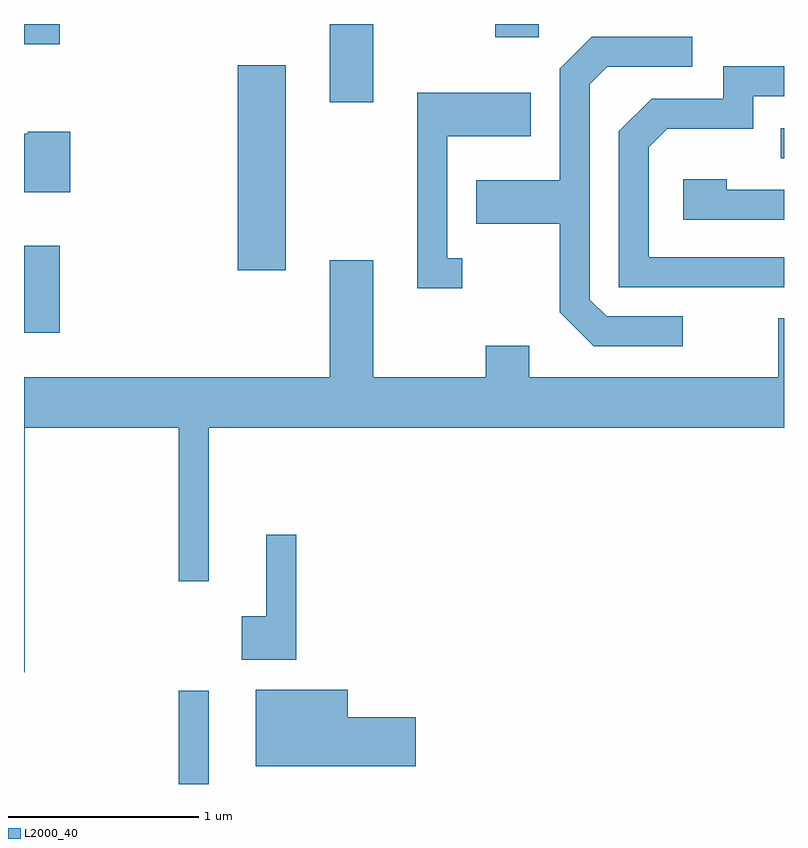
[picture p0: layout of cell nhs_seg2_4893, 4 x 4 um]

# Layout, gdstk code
import gdstk
lib = gdstk.Library(unit=1e-6, precision=1e-09)
def R(c, l, rs):  # rectangles x0, y0, x1, y1
    for r in rs: c.add(gdstk.rectangle(r[:2], r[2:], *l))
def P(c, l, *ps):  # polygons
    for p in ps: c.add(gdstk.Polygon(p, *l))
L2000_40 = (2000, 40)

nhs_seg2_4893 = lib.new_cell('nhs_seg2_4893')
R(nhs_seg2_4893, L2000_40, [(330.426,1019.802,330.584,1020.293), (329.611,1022.176,329.799,1022.634), (330.736,1022.506,330.989,1023.584), (333.593,1023.096,333.611,1023.254), (331.221,1023.391,331.449,1023.802), (329.611,1023.696,329.799,1023.802), (332.091,1023.731,332.319,1023.802)])
P(nhs_seg2_4893, L2000_40, [(333.078,1022.264),(332.677,1022.264),(332.589,1022.352),(332.589,1023.484),(332.682,1023.576),(333.128,1023.576),(333.128,1023.734),(332.599,1023.734),(332.431,1023.567),(332.431,1022.979),(331.991,1022.979),(331.991,1022.751),(332.431,1022.751),(332.431,1022.284),(332.609,1022.106),(333.078,1022.106)],
  [(333.611,1022.574),(332.899,1022.574),(332.899,1023.154),(332.997,1023.251),(333.449,1023.251),(333.449,1023.421),(333.611,1023.421),(333.611,1023.579),(333.291,1023.579),(333.291,1023.409),(332.914,1023.409),(332.741,1023.237),(332.741,1022.416),(333.611,1022.416)],
  [(331.918,1022.569),(331.839,1022.569),(331.839,1023.211),(332.279,1023.211),(332.279,1023.439),(331.681,1023.439),(331.681,1022.411),(331.918,1022.411)],
  [(329.854,1023.234),(329.63,1023.234),(329.63,1023.224),(329.611,1023.224),(329.611,1022.916),(329.854,1022.916)],
  [(333.611,1022.929),(333.309,1022.929),(333.309,1022.984),(333.081,1022.984),(333.081,1022.771),(333.611,1022.771)],
  [(333.611,1022.254),(333.581,1022.254),(333.581,1021.944),(332.269,1021.944),(332.269,1022.109),(332.041,1022.109),(332.041,1021.944),(331.449,1021.944),(331.449,1022.559),(331.221,1022.559),(331.221,1021.944),(329.611,1021.944),(329.611,1020.391),(329.614,1020.391),(329.614,1021.676),(330.426,1021.676),(330.426,1020.868),(330.584,1020.868),(330.584,1021.676),(333.611,1021.676)],
  [(331.044,1021.113),(330.886,1021.113),(330.886,1020.684),(330.756,1020.684),(330.756,1020.456),(331.044,1020.456)],
  [(331.674,1020.154),(331.314,1020.154),(331.314,1020.299),(330.831,1020.299),(330.831,1019.896),(331.674,1019.896)])

lib.write_gds('nhs_seg2_4893.gds')
